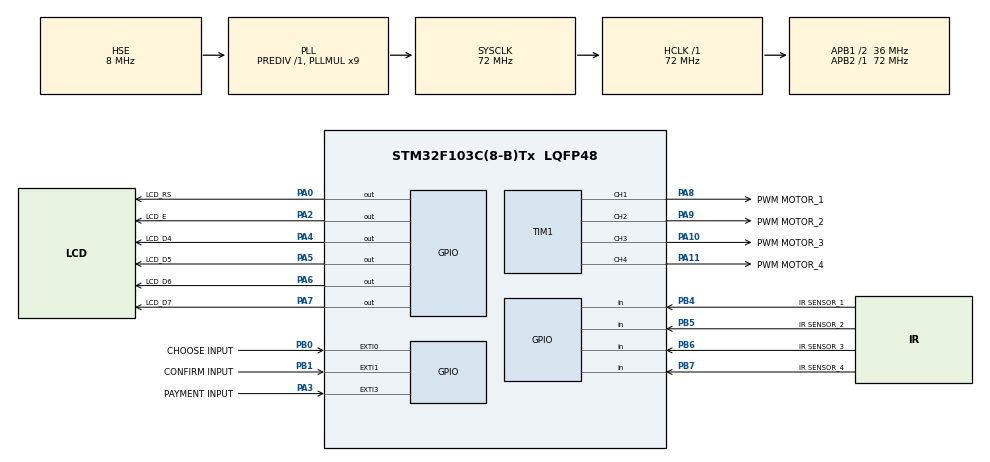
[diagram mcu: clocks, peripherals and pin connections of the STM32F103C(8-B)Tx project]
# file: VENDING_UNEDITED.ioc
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Mcu.Family=STM32F1
Mcu.Name=STM32F103C(8-B)Tx
Mcu.Package=LQFP48
NVIC.EXTI0_IRQn=true\:0\:0\:false\:false\:true\:true\:true\:true
NVIC.EXTI1_IRQn=true\:0\:0\:false\:false\:true\:true\:true\:true
NVIC.EXTI3_IRQn=true\:0\:0\:false\:false\:true\:true\:true\:true
NVIC.PriorityGroup=NVIC_PRIORITYGROUP_4
PA0-WKUP.GPIO_Label=LCD_RS
PA0-WKUP.Signal=GPIO_Output
PA10.GPIO_Label=PWM MOTOR_3
PA10.Signal=S_TIM1_CH3
PA11.GPIO_Label=PWM MOTOR_4
PA11.Signal=S_TIM1_CH4
PA2.GPIO_Label=LCD_E
PA2.Signal=GPIO_Output
PA3.GPIO_Label=PAYMENT INPUT
PA3.GPIO_PuPd=GPIO_PULLUP
PA3.Signal=GPXTI3
PA4.GPIO_Label=LCD_D4
PA4.Signal=GPIO_Output
PA5.GPIO_Label=LCD_D5
PA5.Signal=GPIO_Output
PA6.GPIO_Label=LCD_D6
PA6.Signal=GPIO_Output
PA7.GPIO_Label=LCD_D7
PA7.Signal=GPIO_Output
PA8.GPIO_Label=PWM MOTOR_1
PA8.Signal=S_TIM1_CH1
PA9.GPIO_Label=PWM MOTOR_2
PA9.Signal=S_TIM1_CH2
PB0.GPIO_Label=CHOOSE INPUT
PB0.GPIO_PuPd=GPIO_PULLUP
PB0.Signal=GPXTI0
PB1.GPIO_Label=CONFIRM INPUT
PB1.GPIO_PuPd=GPIO_PULLUP
PB1.Signal=GPXTI1
PB4.GPIO_Label=IR SENSOR_1
PB4.GPIO_PuPd=GPIO_PULLUP
PB4.Signal=GPIO_Input
PB5.GPIO_Label=IR SENSOR_2
PB5.GPIO_PuPd=GPIO_PULLUP
PB5.Signal=GPIO_Input
PB6.GPIO_Label=IR SENSOR_3
PB6.GPIO_PuPd=GPIO_PULLUP
PB6.Signal=GPIO_Input
PB7.GPIO_Label=IR SENSOR_4
PB7.GPIO_PuPd=GPIO_PULLUP
PB7.Signal=GPIO_Input
PD0-OSC_IN.Mode=HSE-External-Oscillator
PD0-OSC_IN.Signal=RCC_OSC_IN
PD1-OSC_OUT.Mode=HSE-External-Oscillator
PD1-OSC_OUT.Signal=RCC_OSC_OUT
ProjectManager.HeapSize=0x200
ProjectManager.StackSize=0x400
ProjectManager.TargetToolchain=STM32CubeIDE
RCC.AHBFreq_Value=72000000
RCC.APB1CLKDivider=RCC_HCLK_DIV2
RCC.APB1Freq_Value=36000000
RCC.APB1TimFreq_Value=72000000
RCC.APB2Freq_Value=72000000
RCC.APB2TimFreq_Value=72000000
RCC.HCLKFreq_Value=72000000
RCC.PLLMUL=RCC_PLL_MUL9
RCC.PLLSourceVirtual=RCC_PLLSOURCE_HSE
RCC.SYSCLKFreq_VALUE=72000000
RCC.SYSCLKSource=RCC_SYSCLKSOURCE_PLLCLK
RCC.USBFreq_Value=72000000
SH.S_TIM1_CH1.0=TIM1_CH1,PWM Generation1 CH1
SH.S_TIM1_CH2.0=TIM1_CH2,PWM Generation2 CH2
SH.S_TIM1_CH3.0=TIM1_CH3,PWM Generation3 CH3
SH.S_TIM1_CH4.0=TIM1_CH4,PWM Generation4 CH4
TIM1.Channel-PWM\ Generation1\ CH1=TIM_CHANNEL_1
TIM1.Channel-PWM\ Generation2\ CH2=TIM_CHANNEL_2
TIM1.Channel-PWM\ Generation3\ CH3=TIM_CHANNEL_3
TIM1.Channel-PWM\ Generation4\ CH4=TIM_CHANNEL_4
VP_SYS_VS_ND.Mode=No_Debug
board=custom

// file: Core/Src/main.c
/* USER CODE BEGIN Header */
/**
  ******************************************************************************
  * @file           : main.c
  * @brief          : Main program body (4 IR Sensors + Motor Logic + Debounce)
  ******************************************************************************
  */
/* USER CODE END Header */
#include "main.h"

/* USER CODE BEGIN Includes */
#include <stdio.h>
#include <string.h>
#include "lcd.h"
#include <stdlib.h>

char *text = "CHOOSE PRODUCT";
char *text_cancel = "CANCEL PURCHASE?";
char *text_no_money = "NOT ENOUGH MONEY";
char *text_refund = "MONEY RETURNED";
char *text_insert_coin = "VUI LONG NAP TIEN";

int prices[4] = {5, 10, 15, 10};

// --- CAC BIEN TOAN CUC ---
volatile int total_money = 0;
volatile int press = 0;
volatile int change = 0;

// Bien dieu khien Motor
volatile int motor_active = 0;
volatile int selected_motor = 0;

// Cac "Co" (Flags) bao hieu tu ngat
volatile uint8_t flag_pay_pressed = 0;
volatile uint8_t flag_choose_pressed = 0;
volatile uint8_t flag_confirm_pressed = 0;

// Bien thoi gian
uint32_t last_activity_tick = 0;
uint32_t last_lcd_refresh = 0;

// Chong rung rieng biet
volatile uint32_t time_pay_press = 0;
volatile uint32_t time_choose_press = 0;
volatile uint32_t time_confirm_press = 0;

char lcd_line1[20];
char lcd_line2[20];

// --- 1. HAM XU LY NGAT (Chi bat co) ---
void HAL_GPIO_EXTI_Callback(uint16_t GPIO_Pin) {
    uint32_t current_time = HAL_GetTick();

    // Nut NAP TIEN (PA3)
    if (GPIO_Pin == PAYMENT_INPUT_Pin) {
        if ((current_time - time_pay_press) > 250) {
            flag_pay_pressed = 1;
            time_pay_press = current_time;
        }
    }
    // Nut CHOOSE (PB0)
    else if (GPIO_Pin == CHOOSE_INPUT_Pin) {
        if ((current_time - time_choose_press) > 250) {
            flag_choose_pressed = 1;
            time_choose_press = current_time;
        }
    }
    // Nut CONFIRM (PB1) - Sieu nhay (50ms)
    else if (GPIO_Pin == CONFIRM_INPUT_Pin) {
        if ((current_time - time_confirm_press) > 50) {
            flag_confirm_pressed = 1;
            time_confirm_press = current_time;
        }
    }
}
/* USER CODE END Includes */

TIM_HandleTypeDef htim1;

void SystemClock_Config(void);
static void MX_GPIO_Init(void);
static void MX_TIM1_Init(void);

int main(void)
{
  HAL_Init();
  SystemClock_Config();
  MX_GPIO_Init();
  MX_TIM1_Init();

  // Bat PWM
  HAL_TIM_PWM_Start(&htim1, TIM_CHANNEL_1);
  HAL_TIM_PWM_Start(&htim1, TIM_CHANNEL_2);
  HAL_TIM_PWM_Start(&htim1, TIM_CHANNEL_3);
  HAL_TIM_PWM_Start(&htim1, TIM_CHANNEL_4);

  lcd_init();
  last_activity_tick = HAL_GetTick();
  last_lcd_refresh = HAL_GetTick();
  int update_lcd = 1;

  while (1)
  {
    // ====================================================
    // A. XU LY LOGIC TU CAC CO (FLAGS)
    // ====================================================

    // 1. Xu ly NAP TIEN
    if (flag_pay_pressed == 1) {
        flag_pay_pressed = 0;
        last_activity_tick = HAL_GetTick();

        if (press == 0 && motor_active == 0) {
            if (total_money < 100) {
                total_money += 5;
                update_lcd = 1;
            }
        }
    }

    // 2. Xu ly CHOOSE
    if (flag_choose_pressed == 1) {
        flag_choose_pressed = 0;
        last_activity_tick = HAL_GetTick();

        if (motor_active == 0) {
            if (total_money == 0) {
                 lcd_clear();
                 lcd_set_cursor(0,0); lcd_write_string(text_insert_coin);
                 HAL_Delay(1000);
                 update_lcd = 1;
            } else {
                press++;
                if (press > 5) press = 1;
                update_lcd = 1;
            }
        }
    }

    // 3. Xu ly CONFIRM
    if (flag_confirm_pressed == 1) {
        flag_confirm_pressed = 0;
        last_activity_tick = HAL_GetTick();

        if (press == 0 || motor_active == 1) {
             // Khong lam gi
        }
        else if (press == 5) { // Cancel
            change = total_money;
            total_money = 0;
            press = 0;
            lcd_clear();
            lcd_set_cursor(0,0); lcd_write_string(text_refund);
            char temp[10]; sprintf(temp, "%d", change);
            lcd_set_cursor(1,0); lcd_write_string(temp);
            HAL_Delay(2000);
            update_lcd = 1;
        }
        else if (press >= 1 && press <= 4) { // Mua SP
            int price = prices[press-1];
            int stock = 0; // Mac dinh la het hang

            // [CAP NHAT IR] Kiem tra hang theo tung san pham (IR: 0=Con, 1=Het)
            if (press == 1) {
                 if (HAL_GPIO_ReadPin(IR_SENSOR_1_GPIO_Port, IR_SENSOR_1_Pin) == GPIO_PIN_RESET) stock = 1;
            }
            else if (press == 2) {
                 if (HAL_GPIO_ReadPin(IR_SENSOR_2_GPIO_Port, IR_SENSOR_2_Pin) == GPIO_PIN_RESET) stock = 1;
            }
            else if (press == 3) {
                 if (HAL_GPIO_ReadPin(IR_SENSOR_3_GPIO_Port, IR_SENSOR_3_Pin) == GPIO_PIN_RESET) stock = 1;
            }
            else if (press == 4) {
                 if (HAL_GPIO_ReadPin(IR_SENSOR_4_GPIO_Port, IR_SENSOR_4_Pin) == GPIO_PIN_RESET) stock = 1;
            }

            if (stock == 0) {
                lcd_clear();
                lcd_set_cursor(0,0); lcd_write_string("HET HANG");
                HAL_Delay(1500);
                update_lcd = 1;
            } else if (total_money < price) {
                lcd_clear();
                lcd_set_cursor(0,0); lcd_write_string(text_no_money);
                HAL_Delay(1500);
                update_lcd = 1;
            } else {
                // === MUA THANH CONG ===
                change = total_money - price;
                total_money = 0;

                selected_motor = press;
                motor_active = 1;
                update_lcd = 0;
            }
        }
    }

    // ====================================================
    // B. LOGIC MOTOR (BLOCKING MODE)
    // ====================================================
    if (motor_active == 1) {
        lcd_clear();
        lcd_set_cursor(0,0); lcd_write_string("DANG TRA HANG...");

        // Bat Motor
        if (selected_motor == 1) TIM1->CCR1 = 65535;
        else if (selected_motor == 2) TIM1->CCR2 = 65535;
        else if (selected_motor == 3) TIM1->CCR3 = 65535;
        else if (selected_motor == 4) TIM1->CCR4 = 65535;

        HAL_Delay(5000); // Chay 5 giay tuyet doi

        // Tat Motor
        TIM1->CCR1 = 0; TIM1->CCR2 = 0; TIM1->CCR3 = 0; TIM1->CCR4 = 0;

        // Khoi phuc LCD
        lcd_init();
        lcd_clear();
        lcd_set_cursor(0,0); lcd_write_string("MUA THANH CONG");
        sprintf(lcd_line2, "Change: %d", change);
        lcd_set_cursor(1,0); lcd_write_string(lcd_line2);
        HAL_Delay(3000);

        // Reset
        press = 0;
        motor_active = 0;
        selected_motor = 0;
        change = 0;
        update_lcd = 1;

        // Reset flags de tranh xung dot sau khi delay dai
        last_activity_tick = HAL_GetTick();
        flag_pay_pressed = 0; flag_choose_pressed = 0; flag_confirm_pressed = 0;
    }

    // --- C. LOGIC TIMEOUT (10s) ---
    if (total_money > 0 && motor_active == 0 && (HAL_GetTick() - last_activity_tick > 10000)) {
        change = total_money;
        total_money = 0;
        press = 0;
        lcd_clear();
        lcd_set_cursor(0,0); lcd_write_string("TIMEOUT!");
        sprintf(lcd_line2, "Tra lai: %d", change);
        lcd_set_cursor(1,0); lcd_write_string(lcd_line2);
        HAL_Delay(3000);
        update_lcd = 1;
        last_activity_tick = HAL_GetTick();
    }

    // --- D. HIEN THI LCD DINH KY (500ms) ---
    if ((update_lcd || (HAL_GetTick() - last_lcd_refresh > 500)) && motor_active == 0) {
        lcd_clear();
        if (press == 0) {
            sprintf(lcd_line1, "Total: %d", total_money);
            lcd_set_cursor(0,0); lcd_write_string(lcd_line1);
            lcd_set_cursor(1,0); lcd_write_string(text);
        } else if (press == 5) {
            sprintf(lcd_line1, "Total: %d", total_money);
            lcd_set_cursor(0,0); lcd_write_string(lcd_line1);
            lcd_set_cursor(1,0); lcd_write_string(text_cancel);
        } else {
            sprintf(lcd_line1, "Total: %d", total_money);
            sprintf(lcd_line2, "%c: Price: %d", 'A' + (press-1), prices[press-1]);
            lcd_set_cursor(0,0); lcd_write_string(lcd_line1);
            lcd_set_cursor(1,0); lcd_write_string(lcd_line2);
        }
        update_lcd = 0;
        last_lcd_refresh = HAL_GetTick();
    }
  }
}

void SystemClock_Config(void)
{
  RCC_OscInitTypeDef RCC_OscInitStruct = {0};
  RCC_ClkInitTypeDef RCC_ClkInitStruct = {0};

  RCC_OscInitStruct.OscillatorType = RCC_OSCILLATORTYPE_HSE;
  RCC_OscInitStruct.HSEState = RCC_HSE_ON;
  RCC_OscInitStruct.HSEPredivValue = RCC_HSE_PREDIV_DIV1;
  RCC_OscInitStruct.HSIState = RCC_HSI_ON;
  RCC_OscInitStruct.PLL.PLLState = RCC_PLL_ON;
  RCC_OscInitStruct.PLL.PLLSource = RCC_PLLSOURCE_HSE;
  RCC_OscInitStruct.PLL.PLLMUL = RCC_PLL_MUL9;
  if (HAL_RCC_OscConfig(&RCC_OscInitStruct) != HAL_OK)
  {
    Error_Handler();
  }

  RCC_ClkInitStruct.ClockType = RCC_CLOCKTYPE_HCLK|RCC_CLOCKTYPE_SYSCLK
                              |RCC_CLOCKTYPE_PCLK1|RCC_CLOCKTYPE_PCLK2;
  RCC_ClkInitStruct.SYSCLKSource = RCC_SYSCLKSOURCE_PLLCLK;
  RCC_ClkInitStruct.AHBCLKDivider = RCC_SYSCLK_DIV1;
  RCC_ClkInitStruct.APB1CLKDivider = RCC_HCLK_DIV2;
  RCC_ClkInitStruct.APB2CLKDivider = RCC_HCLK_DIV1;

  if (HAL_RCC_ClockConfig(&RCC_ClkInitStruct, FLASH_LATENCY_2) != HAL_OK)
  {
    Error_Handler();
  }
}

static void MX_TIM1_Init(void)
{
  TIM_MasterConfigTypeDef sMasterConfig = {0};
  TIM_OC_InitTypeDef sConfigOC = {0};
  TIM_BreakDeadTimeConfigTypeDef sBreakDeadTimeConfig = {0};

  htim1.Instance = TIM1;
  htim1.Init.Prescaler = 0;
  htim1.Init.CounterMode = TIM_COUNTERMODE_UP;
  htim1.Init.Period = 65535;
  htim1.Init.ClockDivision = TIM_CLOCKDIVISION_DIV1;
  htim1.Init.RepetitionCounter = 0;
  htim1.Init.AutoReloadPreload = TIM_AUTORELOAD_PRELOAD_DISABLE;
  if (HAL_TIM_PWM_Init(&htim1) != HAL_OK)
  {
    Error_Handler();
  }
  sMasterConfig.MasterOutputTrigger = TIM_TRGO_RESET;
  sMasterConfig.MasterSlaveMode = TIM_MASTERSLAVEMODE_DISABLE;
  if (HAL_TIMEx_MasterConfigSynchronization(&htim1, &sMasterConfig) != HAL_OK)
  {
    Error_Handler();
  }
  sConfigOC.OCMode = TIM_OCMODE_PWM1;
  sConfigOC.Pulse = 0;
  sConfigOC.OCPolarity = TIM_OCPOLARITY_HIGH;
  sConfigOC.OCNPolarity = TIM_OCNPOLARITY_HIGH;
  sConfigOC.OCFastMode = TIM_OCFAST_DISABLE;
  sConfigOC.OCIdleState = TIM_OCIDLESTATE_RESET;
  sConfigOC.OCNIdleState = TIM_OCNIDLESTATE_RESET;
  if (HAL_TIM_PWM_ConfigChannel(&htim1, &sConfigOC, TIM_CHANNEL_1) != HAL_OK)
  {
    Error_Handler();
  }
  if (HAL_TIM_PWM_ConfigChannel(&htim1, &sConfigOC, TIM_CHANNEL_2) != HAL_OK)
  {
    Error_Handler();
  }
  if (HAL_TIM_PWM_ConfigChannel(&htim1, &sConfigOC, TIM_CHANNEL_3) != HAL_OK)
  {
    Error_Handler();
  }
  if (HAL_TIM_PWM_ConfigChannel(&htim1, &sConfigOC, TIM_CHANNEL_4) != HAL_OK)
  {
    Error_Handler();
  }
  sBreakDeadTimeConfig.OffStateRunMode = TIM_OSSR_DISABLE;
  sBreakDeadTimeConfig.OffStateIDLEMode = TIM_OSSI_DISABLE;
  sBreakDeadTimeConfig.LockLevel = TIM_LOCKLEVEL_OFF;
  sBreakDeadTimeConfig.DeadTime = 0;
  sBreakDeadTimeConfig.BreakState = TIM_BREAK_DISABLE;
  sBreakDeadTimeConfig.BreakPolarity = TIM_BREAKPOLARITY_HIGH;
  sBreakDeadTimeConfig.AutomaticOutput = TIM_AUTOMATICOUTPUT_DISABLE;
  if (HAL_TIMEx_ConfigBreakDeadTime(&htim1, &sBreakDeadTimeConfig) != HAL_OK)
  {
    Error_Handler();
  }
  HAL_TIM_MspPostInit(&htim1);
}

static void MX_GPIO_Init(void)
{
  GPIO_InitTypeDef GPIO_InitStruct = {0};

  /* GPIO Ports Clock Enable */
  __HAL_RCC_GPIOD_CLK_ENABLE();
  __HAL_RCC_GPIOA_CLK_ENABLE();
  __HAL_RCC_GPIOB_CLK_ENABLE();

  /*Configure GPIO pin Output Level */
  HAL_GPIO_WritePin(GPIOA, LCD_RS_Pin|LCD_E_Pin|LCD_D4_Pin|LCD_D5_Pin
                          |LCD_D6_Pin|LCD_D7_Pin, GPIO_PIN_RESET);

  /*Configure GPIO pins : LCD_RS_Pin LCD_E_Pin LCD_D4_Pin LCD_D5_Pin
                           LCD_D6_Pin LCD_D7_Pin */
  GPIO_InitStruct.Pin = LCD_RS_Pin|LCD_E_Pin|LCD_D4_Pin|LCD_D5_Pin
                          |LCD_D6_Pin|LCD_D7_Pin;
  GPIO_InitStruct.Mode = GPIO_MODE_OUTPUT_PP;
  GPIO_InitStruct.Pull = GPIO_NOPULL;
  GPIO_InitStruct.Speed = GPIO_SPEED_FREQ_LOW;
  HAL_GPIO_Init(GPIOA, &GPIO_InitStruct);

  /*Configure GPIO pin : PAYMENT_INPUT_Pin */
  GPIO_InitStruct.Pin = PAYMENT_INPUT_Pin;
  GPIO_InitStruct.Mode = GPIO_MODE_IT_FALLING;
  GPIO_InitStruct.Pull = GPIO_PULLUP;
  HAL_GPIO_Init(PAYMENT_INPUT_GPIO_Port, &GPIO_InitStruct);

  /*Configure GPIO pins : CHOOSE_INPUT_Pin CONFIRM_INPUT_Pin */
  GPIO_InitStruct.Pin = CHOOSE_INPUT_Pin|CONFIRM_INPUT_Pin;
  GPIO_InitStruct.Mode = GPIO_MODE_IT_FALLING;
  GPIO_InitStruct.Pull = GPIO_PULLUP;
  HAL_GPIO_Init(GPIOB, &GPIO_InitStruct);

  /*Configure GPIO pins : IR_SENSOR_1_Pin IR_SENSOR_2_Pin IR_SENSOR_3_Pin IR_SENSOR_4_Pin */
  // [CAP NHAT] Cau hinh cho ca 4 cam bien
  GPIO_InitStruct.Pin = IR_SENSOR_1_Pin|IR_SENSOR_2_Pin|IR_SENSOR_3_Pin|IR_SENSOR_4_Pin;
  GPIO_InitStruct.Mode = GPIO_MODE_INPUT;
  GPIO_InitStruct.Pull = GPIO_PULLUP;
  HAL_GPIO_Init(GPIOB, &GPIO_InitStruct);

  /* EXTI interrupt init*/
  HAL_NVIC_SetPriority(EXTI0_IRQn, 0, 0);
  HAL_NVIC_EnableIRQ(EXTI0_IRQn);

  HAL_NVIC_SetPriority(EXTI1_IRQn, 0, 0);
  HAL_NVIC_EnableIRQ(EXTI1_IRQn);

  HAL_NVIC_SetPriority(EXTI3_IRQn, 0, 0);
  HAL_NVIC_EnableIRQ(EXTI3_IRQn);
}

void Error_Handler(void)
{
  __disable_irq();
  while (1)
  {
  }
}
